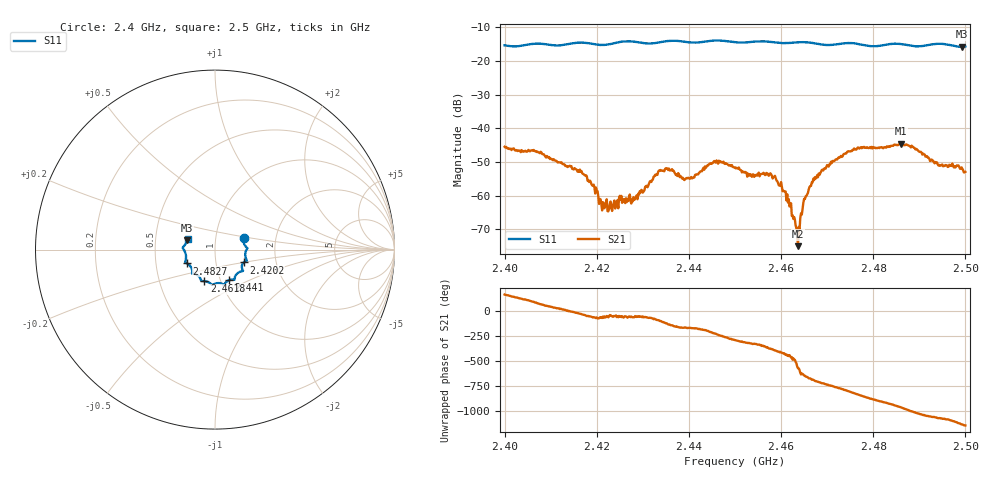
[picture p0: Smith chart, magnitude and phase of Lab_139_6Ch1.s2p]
# Hz S RI R
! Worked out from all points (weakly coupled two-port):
!   601 points, 2.4 GHz to 2.5 GHz, reference 50 ohm
!   highest |S21| = -44.55 dB at 2.486 GHz (marker M1); lowest = -75.0 dB at 2.4637 GHz (marker M2)
!   lowest |S11| = -15.8 dB at 2.4993 GHz (marker M3), VSWR 1.39, Z = 36.5 + j3.81 ohm
!   |S11| at or under -10 dB: start of sweep to end of sweep
!   S12 and S22 are empty: the file has one direction only
!   S11 on the Smith chart (normalised r, x): 2.4 GHz: 1.36, +0.18; 2.4202 GHz: 1.36, -0.20; 2.441 GHz: 1.10, -0.39; 2.4618 GHz: 0.84, -0.30; 2.4827 GHz: 0.72, -0.12; 2.5 GHz: 0.73, +0.09
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2.4e9  0.1588 0.0627  -0.00522 0.00108  0 0  0 0
2.4075e9  0.1807 0.00762  0.00109 0.00421  0 0  0 0
2.416667e9  0.1772 -0.0609  0.00206 -0.00108  0 0  0 0
2.420167e9  0.1589 -0.0717  0.00036 -0.00111  0 0  0 0
2.422833e9  0.1495 -0.0959  0.00059 -0.000462  0 0  0 0
2.425333e9  0.1548 -0.1152  0.000519 -0.000848  0 0  0 0
2.427833e9  0.1531 -0.1197  0.000403 -0.000721  0 0  0 0
2.433333e9  0.1118 -0.1508  4.24e-05 -0.00228  0 0  0 0
2.441e9  0.0788 -0.1699  -0.00185 -0.0003  0 0  0 0
2.445667e9  0.0505 -0.1948  -0.00228 0.00216  0 0  0 0
2.45e9  0.0287 -0.1872  0.000873 0.00249  0 0  0 0
2.458167e9  -0.0262 -0.1884  0.00167 -0.000683  0 0  0 0
2.461833e9  -0.0591 -0.1756  0.00011 -0.000685  0 0  0 0
2.463667e9  -0.0723 -0.1753  -0.000151 9.51e-05  0 0  0 0
2.465167e9  -0.0768 -0.1738  0.000269 0.000852  0 0  0 0
2.466667e9  -0.0787 -0.1683  0.00134 0.000846  0 0  0 0
2.474167e9  -0.1255 -0.1344  0.000961 -0.00414  0 0  0 0
2.482667e9  -0.156 -0.0773  -0.00502 0.00163  0 0  0 0
2.483333e9  -0.1604 -0.075  -0.00469 0.00249  0 0  0 0
2.486e9  -0.1654 -0.067  -0.00244 0.0054  0 0  0 0
2.499333e9  -0.1541 0.0508  0.00135 -0.00211  0 0  0 0
2.5e9  -0.1523 0.0602  0.000864 -0.00209  0 0  0 0
